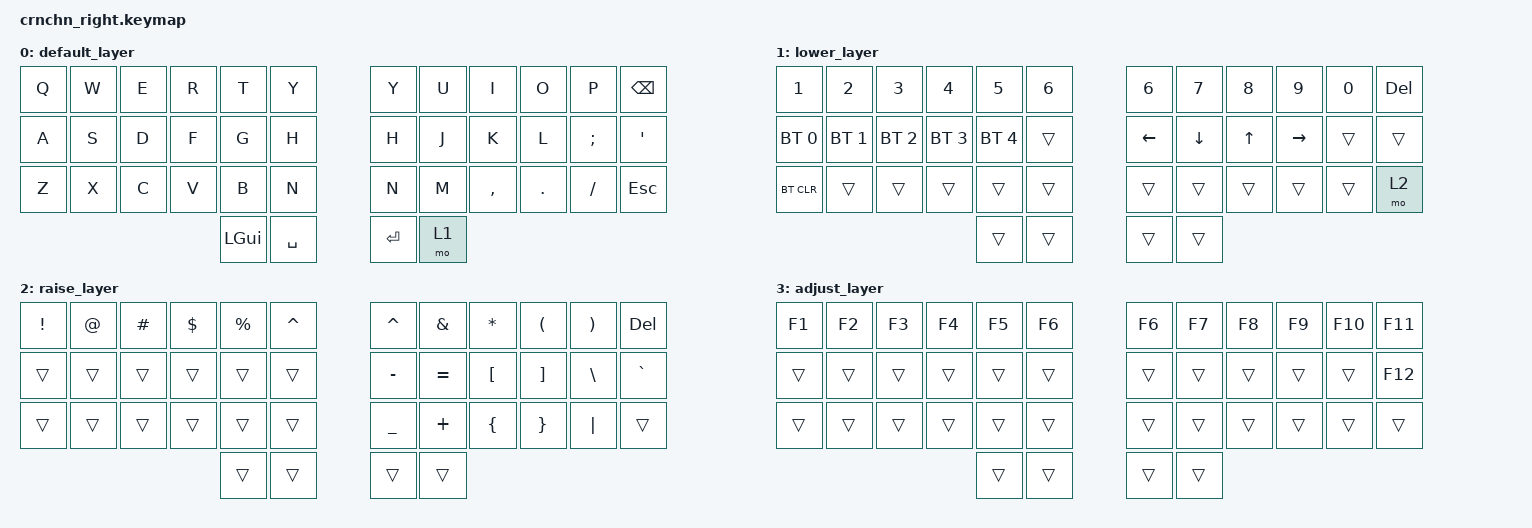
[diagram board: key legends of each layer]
/*
 * Copyright (c) 2020 The ZMK Contributors
 *
 * SPDX-License-Identifier: MIT
 */

#include <behaviors.dtsi>
#include <dt-bindings/zmk/keys.h>
#include <dt-bindings/zmk/bt.h>

// Right side keymap for Cornichon
// For split keyboards, the right side (peripheral) typically uses a minimal keymap
// The actual keymap logic is handled by the central (left) side

/ {
    keymap {
        compatible = "zmk,keymap";

        default_layer {
            // Minimal keymap - actual layout is controlled by left side
            bindings = <
                &kp Q       &kp W       &kp E       &kp R       &kp T       &kp Y       &kp Y       &kp U       &kp I       &kp O       &kp P       &kp BSPC
                &kp A       &kp S       &kp D       &kp F       &kp G       &kp H       &kp H       &kp J       &kp K       &kp L       &kp SEMI    &kp SQT
                &kp Z       &kp X       &kp C       &kp V       &kp B       &kp N       &kp N       &kp M       &kp COMMA   &kp DOT     &kp FSLH    &kp ESC
                                                    &kp LGUI    &kp SPACE                           &kp RET     &mo 1
            >;
        };

        lower_layer {
            bindings = <
                &kp N1          &kp N2          &kp N3          &kp N4          &kp N5          &kp N6          &kp N6          &kp N7          &kp N8          &kp N9          &kp N0          &kp DEL
                &bt BT_SEL 0    &bt BT_SEL 1    &bt BT_SEL 2    &bt BT_SEL 3    &bt BT_SEL 4    &trans          &kp LEFT        &kp DOWN        &kp UP          &kp RIGHT       &trans          &trans
                &bt BT_CLR      &trans          &trans          &trans          &trans          &trans          &trans          &trans          &trans          &trans          &trans          &mo 2
                                                                &trans          &trans                                          &trans          &trans
            >;
        };

        raise_layer {
            bindings = <
                &kp EXCL        &kp AT          &kp HASH        &kp DLLR        &kp PRCNT       &kp CARET       &kp CARET       &kp AMPS        &kp ASTRK       &kp LPAR        &kp RPAR        &kp DEL
                &trans          &trans          &trans          &trans          &trans          &trans          &kp MINUS       &kp EQUAL       &kp LBKT        &kp RBKT        &kp BSLH        &kp GRAVE
                &trans          &trans          &trans          &trans          &trans          &trans          &kp UNDER       &kp PLUS        &kp LBRC        &kp RBRC        &kp PIPE        &trans
                                                                &trans          &trans                                          &trans          &trans
            >;
        };

        adjust_layer {
            bindings = <
                &kp F1          &kp F2          &kp F3          &kp F4          &kp F5          &kp F6          &kp F6          &kp F7          &kp F8          &kp F9          &kp F10         &kp F11
                &trans          &trans          &trans          &trans          &trans          &trans          &trans          &trans          &trans          &trans          &trans          &kp F12
                &trans          &trans          &trans          &trans          &trans          &trans          &trans          &trans          &trans          &trans          &trans          &trans
                                                                &trans          &trans                                          &trans          &trans
            >;
        };
    };
};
